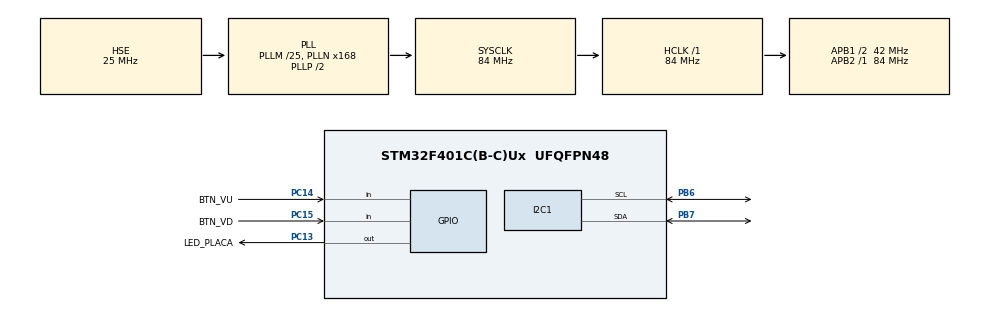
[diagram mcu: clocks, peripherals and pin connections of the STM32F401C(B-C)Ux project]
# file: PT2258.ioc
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Mcu.Family=STM32F4
RCC.PLLSourceVirtual=RCC_PLLSOURCE_HSE
RCC.CortexFreq_Value=84000000
PC13-ANTI_TAMP.GPIO_Label=LED_PLACA
PH1\ -\ OSC_OUT.Mode=HSE-External-Oscillator
RCC.APB1CLKDivider=RCC_HCLK_DIV2
PC14-OSC32_IN.Signal=GPIO_Input
PC15-OSC32_OUT.GPIO_Label=BTN_VD
PC13-ANTI_TAMP.PinState=GPIO_PIN_SET
RCC.SYSCLKSource=RCC_SYSCLKSOURCE_PLLCLK
ProjectManager.StackSize=0x400
PA13.Signal=SYS_JTMS-SWDIO
PH0\ -\ OSC_IN.Mode=HSE-External-Oscillator
PH0\ -\ OSC_IN.Signal=RCC_OSC_IN
ProjectManager.TargetToolchain=STM32CubeIDE
RCC.HCLKFreq_Value=84000000
RCC.APB2TimFreq_Value=84000000
PB6.Signal=I2C1_SCL
PB6.Mode=I2C
RCC.LSE_VALUE=32768
PC15-OSC32_OUT.Signal=GPIO_Input
RCC.AHBFreq_Value=84000000
RCC.HSE_VALUE=25000000
PH1\ -\ OSC_OUT.Signal=RCC_OSC_OUT
board=custom
PC13-ANTI_TAMP.Signal=GPIO_Output
RCC.VCOOutputFreq_Value=168000000
RCC.APB2Freq_Value=84000000
PA14.Mode=Serial_Wire
PC15-OSC32_OUT.GPIO_PuPd=GPIO_PULLUP
PB7.Signal=I2C1_SDA
PA13.Mode=Serial_Wire
Mcu.Name=STM32F401C(B-C)Ux
RCC.48MHZClocksFreq_Value=42000000
RCC.SYSCLKFreq_VALUE=84000000
Mcu.Package=UFQFPN48
PB7.Mode=I2C
PA14.Signal=SYS_JTCK-SWCLK
ProjectManager.HeapSize=0x200
RCC.HSI_VALUE=16000000
NVIC.PriorityGroup=NVIC_PRIORITYGROUP_4
RCC.PLLM=25
RCC.PLLN=168
RCC.APB1TimFreq_Value=84000000
PC14-OSC32_IN.GPIO_PuPd=GPIO_PULLUP
PC14-OSC32_IN.GPIO_Label=BTN_VU
RCC.APB1Freq_Value=42000000

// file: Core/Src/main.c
/* USER CODE BEGIN Header */
/**
  ******************************************************************************
  * @file           : main.c
  * @brief          : Main program body
  ******************************************************************************
  * @attention
  *
  * <h2><center>&copy; Copyright (c) 2021 STMicroelectronics.
  * All rights reserved.</center></h2>
  *
  * This software component is licensed by ST under BSD 3-Clause license,
  * the "License"; You may not use this file except in compliance with the
  * License. You may obtain a copy of the License at:
  *                        opensource.org/licenses/BSD-3-Clause
  *
  ******************************************************************************
  */
/* USER CODE END Header */
#include "main.h"
#include "i2c.h"
#include "gpio.h"

/* USER CODE BEGIN Includes */
#include "usr/J3_PT2258.h"
/* USER CODE END Includes */

void SystemClock_Config(void);

int main(void)
{

  /* MCU Configuration--------------------------------------------------------*/

  /* Reset of all peripherals, Initializes the Flash interface and the Systick. */
  HAL_Init();

  /* USER CODE BEGIN Init */
  TPT2258* controleAudio;
  uint8_t ch1_vol = 40;

  /* USER CODE END Init */

  /* Configure the system clock */
  SystemClock_Config();

  /* Initialize all configured peripherals */
  MX_GPIO_Init();
  MX_I2C1_Init();
  /* USER CODE BEGIN 2 */
  HAL_Delay(500);

  controleAudio = J3_PT2258_new(&hi2c1, 0x88);
  J3_PT2258_reset(controleAudio);
  J3_PT2258_setMuteOff(controleAudio);
	J3_PT2258_setVolumeCanal(controleAudio, 1, ch1_vol);
	J3_PT2258_setVolumeCanal(controleAudio, 0, ch1_vol);

  /* USER CODE END 2 */

  /* Infinite loop */
  while (1)
  {

    /* USER CODE BEGIN 3 */
  	HAL_GPIO_TogglePin(LED_PLACA_GPIO_Port, LED_PLACA_Pin);
  	HAL_Delay(100);

  	if (HAL_GPIO_ReadPin(BTN_VD_GPIO_Port, BTN_VD_Pin) == GPIO_PIN_RESET){
  		HAL_Delay(100);
  		if (HAL_GPIO_ReadPin(BTN_VD_GPIO_Port, BTN_VD_Pin) == GPIO_PIN_RESET){
  			if(ch1_vol > 0){
  				ch1_vol--;
  				J3_PT2258_setVolumeCanal(controleAudio, 1, ch1_vol);
  				J3_PT2258_setVolumeCanal(controleAudio, 0, ch1_vol);

  				HAL_GPIO_TogglePin(LED_PLACA_GPIO_Port, LED_PLACA_Pin);
  		  	HAL_Delay(50);
  		  	HAL_GPIO_TogglePin(LED_PLACA_GPIO_Port, LED_PLACA_Pin);
  		  	HAL_Delay(50);
  		  	HAL_GPIO_TogglePin(LED_PLACA_GPIO_Port, LED_PLACA_Pin);
  		  	HAL_Delay(50);
  		  	HAL_GPIO_TogglePin(LED_PLACA_GPIO_Port, LED_PLACA_Pin);
  		  	HAL_Delay(50);
  			}
  		}
  	}

  	if (HAL_GPIO_ReadPin(BTN_VU_GPIO_Port, BTN_VU_Pin) == GPIO_PIN_RESET){
  		HAL_Delay(100);
  		if (HAL_GPIO_ReadPin(BTN_VU_GPIO_Port, BTN_VU_Pin) == GPIO_PIN_RESET){
  			if(ch1_vol < 79 ){
  				ch1_vol++;
  				J3_PT2258_setVolumeCanal(controleAudio, 1, ch1_vol);
  				J3_PT2258_setVolumeCanal(controleAudio, 0, ch1_vol);

  				HAL_GPIO_TogglePin(LED_PLACA_GPIO_Port, LED_PLACA_Pin);
  		  	HAL_Delay(50);
  		  	HAL_GPIO_TogglePin(LED_PLACA_GPIO_Port, LED_PLACA_Pin);
  		  	HAL_Delay(50);
  		  	HAL_GPIO_TogglePin(LED_PLACA_GPIO_Port, LED_PLACA_Pin);
  		  	HAL_Delay(50);
  		  	HAL_GPIO_TogglePin(LED_PLACA_GPIO_Port, LED_PLACA_Pin);
  		  	HAL_Delay(50);

  			}
  		}
  	}

  	if ((HAL_GPIO_ReadPin(BTN_VU_GPIO_Port, BTN_VU_Pin) == GPIO_PIN_RESET) && (HAL_GPIO_ReadPin(BTN_VD_GPIO_Port, BTN_VD_Pin) == GPIO_PIN_RESET)){
  		J3_PT2258_setMuteOn(controleAudio);
  	}

  }
  /* USER CODE END 3 */
}

void SystemClock_Config(void)
{
  RCC_OscInitTypeDef RCC_OscInitStruct = {0};
  RCC_ClkInitTypeDef RCC_ClkInitStruct = {0};

  /** Configure the main internal regulator output voltage
  */
  __HAL_RCC_PWR_CLK_ENABLE();
  __HAL_PWR_VOLTAGESCALING_CONFIG(PWR_REGULATOR_VOLTAGE_SCALE2);
  /** Initializes the RCC Oscillators according to the specified parameters
  * in the RCC_OscInitTypeDef structure.
  */
  RCC_OscInitStruct.OscillatorType = RCC_OSCILLATORTYPE_HSE;
  RCC_OscInitStruct.HSEState = RCC_HSE_ON;
  RCC_OscInitStruct.PLL.PLLState = RCC_PLL_ON;
  RCC_OscInitStruct.PLL.PLLSource = RCC_PLLSOURCE_HSE;
  RCC_OscInitStruct.PLL.PLLM = 25;
  RCC_OscInitStruct.PLL.PLLN = 168;
  RCC_OscInitStruct.PLL.PLLP = RCC_PLLP_DIV2;
  RCC_OscInitStruct.PLL.PLLQ = 4;
  if (HAL_RCC_OscConfig(&RCC_OscInitStruct) != HAL_OK)
  {
    Error_Handler();
  }
  /** Initializes the CPU, AHB and APB buses clocks
  */
  RCC_ClkInitStruct.ClockType = RCC_CLOCKTYPE_HCLK|RCC_CLOCKTYPE_SYSCLK
                              |RCC_CLOCKTYPE_PCLK1|RCC_CLOCKTYPE_PCLK2;
  RCC_ClkInitStruct.SYSCLKSource = RCC_SYSCLKSOURCE_PLLCLK;
  RCC_ClkInitStruct.AHBCLKDivider = RCC_SYSCLK_DIV1;
  RCC_ClkInitStruct.APB1CLKDivider = RCC_HCLK_DIV2;
  RCC_ClkInitStruct.APB2CLKDivider = RCC_HCLK_DIV1;

  if (HAL_RCC_ClockConfig(&RCC_ClkInitStruct, FLASH_LATENCY_2) != HAL_OK)
  {
    Error_Handler();
  }
}

void Error_Handler(void)
{
  __disable_irq();
  while (1)
  {
  }
}

/************************ (C) COPYRIGHT STMicroelectronics *****END OF FILE****/
